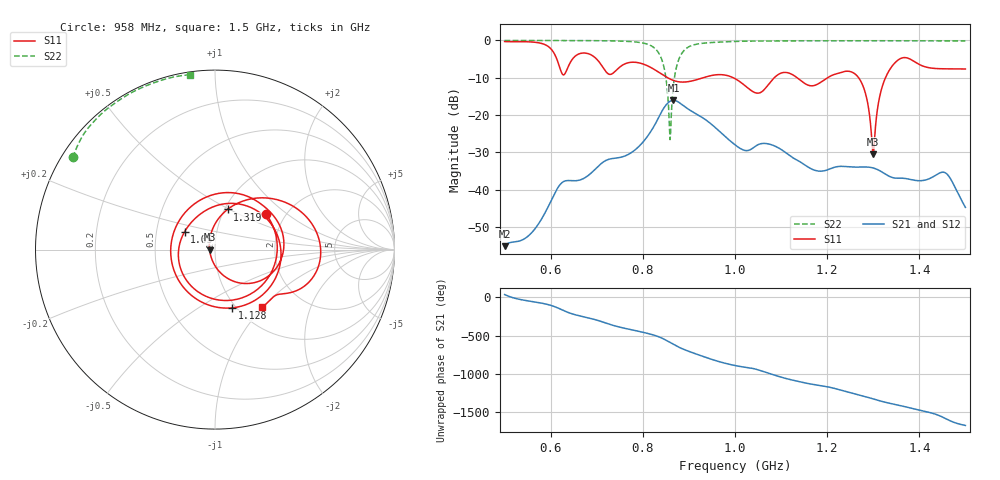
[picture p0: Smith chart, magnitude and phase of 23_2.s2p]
! TOUCHSTONE file generated by CST MICROWAVE STUDIO
! Date and time: Mon Nov 30 09:08:58 2020
! Project name: Scenario_1_Planar_Body_Tissue_Out_of_Line_v2.cst
! Parameters = {dy1=34.6; L_HA=400; Ltissue=700; MT=2.54; Rad_Dielectric=30; Rad_Lower=7.3; Rad_Upper=30; Wtissue=700; a_HA=580; a_WG=246; b_HA=500; b_WG=121; c_HA=0; c_WG=187; d_feed=85; dx1=346; h_feed=15; h_lower=18; h_upper=40; hfat=3; hgap=25; hmuscle=50; hskin=1.5}
! Header version: 2018
! Port assignment regex: !\s*Touchstone port\s*([0-9]+)\s*=\s*(CST MWS port|CST DS port)\s*([0-9]+|Zmin|Zmax)\s*\(\"(.*)\"\)(\s*mode\s*([0-9]+))?.*
! Touchstone port assignment:
! Touchstone port 1 = CST MWS port 1 ("")
! Touchstone port 2 = CST MWS port 2 ("")
# GHz S DB R 50
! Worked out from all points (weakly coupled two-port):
!   1003 points, 500 MHz to 1.5 GHz, reference 50 ohm
!   highest |S21| = -16.02 dB at 866.5 MHz (marker M1); lowest = -55.1 dB at 500 MHz (marker M2)
!   lowest |S11| = -30.5 dB at 1.3 GHz (marker M3), VSWR 1.06, Z = 47.1 - j0.0982 ohm
!   |S11| at or under -10 dB: 853.8 MHz to 930.7 MHz (76.96 MHz wide, 8.62 % of centre); 996.2 MHz to 1.085 GHz (88.9 MHz wide, 8.54 % of centre); 1.135 GHz to 1.201 GHz (66.01 MHz wide, 5.65 % of centre) (the widest 3 of 4)
!   |S22| runs from -26.6 to 0.0 dB; largest |S21 - S12| = 1.3e-05
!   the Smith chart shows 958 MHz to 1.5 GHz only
!   S11 on the Smith chart (normalised r, x): 958 MHz: 1.59, +0.72; 1.05 GHz: 0.70, +0.14; 1.128 GHz: 0.96, -0.70; 1.319 GHz: 1.03, +0.49; 1.5 GHz: 1.28, -0.99
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0.5  -0.29 -121.8  -55.11 35.1  -55.11 35.1  -0.01 151.2
0.667  -3.42 157.0  -37.23 111.4  -37.23 111.4  -0.04 138.4
0.695  -4.46 100.4  -34.69 71.0  -34.69 71.0  -0.06 135.4
0.717  -7.88 22.4  -32.34 29.6  -32.34 29.6  -0.09 132.7
0.741  -8.15 -98.4  -31.53 -15.8  -31.53 -15.8  -0.14 129.1
0.769  -5.96 176.2  -30.50 -55.5  -30.50 -55.5  -0.27 123.4
0.801  -6.34 105.3  -27.12 -97.4  -27.12 -97.4  -0.71 112.4
0.834  -8.49 27.9  -20.72 -153.6  -20.72 -153.6  -3.29 85.4
0.858  -10.27 -39.3  -16.38 135.0  -16.38 135.0  -23.92 0.7
0.8665  -10.73 -65.7  -16.02 106.2  -16.02 106.2  -11.94 -139.6
0.906  -10.87 168.4  -18.98 1.6  -18.98 1.6  -1.36 165.1
0.958  -9.22 35.1  -23.42 -105.1  -23.42 -105.1  -0.50 147.1
1  -10.24 -61.1  -27.96 -169.2  -27.96 -169.2  -0.27 140.4
1.05  -14.13 149.7  -27.93 134.8  -27.93 134.8  -0.17 134.4
1.099  -8.80 5.4  -29.12 41.4  -29.12 41.4  -0.12 129.8
1.128  -9.41 -73.5  -31.61 -3.4  -31.61 -3.4  -0.11 127.3
1.167  -12.16 172.2  -34.48 -52.5  -34.49 -52.5  -0.10 124.2
1.262  -9.14 -19.9  -33.94 -179.7  -33.94 -179.7  -0.08 117.0
1.3  -30.45 -178.0  -34.17 116.0  -34.17 116.0  -0.08 114.1
1.319  -12.60 72.6  -35.25 83.0  -35.25 83.0  -0.09 112.7
1.334  -8.18 47.7  -36.34 61.6  -36.34 61.6  -0.09 111.6
1.5  -7.65 -50.6  -44.71 130.6  -44.71 130.6  -0.14 98.0
